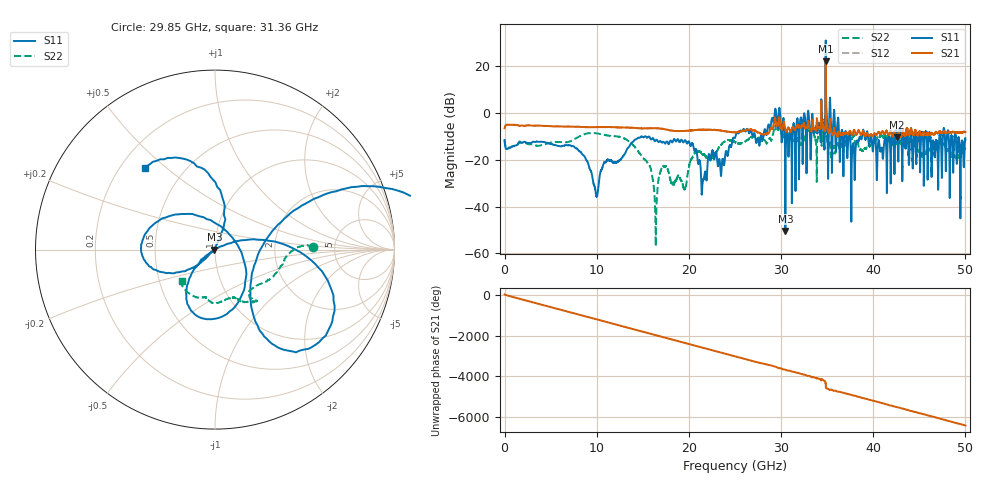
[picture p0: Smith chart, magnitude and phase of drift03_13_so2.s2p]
!Created with skrf (http://scikit-rf.org).
# Hz S RI R 50.0
!freq ReS11 ImS11 ReS21 ImS21 ReS12 ImS12 ReS22 ImS22
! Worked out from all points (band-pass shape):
!   10001 points, 300 kHz to 50 GHz, reference 50 ohm
!   highest |S21| = 21.99 dB at 34.85 GHz (marker M1); lowest = -10.5 dB at 42.56 GHz (marker M2)
!   |S21| within 3 dB of the highest: 34.84331 GHz to 34.84676 GHz (3.449 MHz wide, 0.0099 % of centre)
!   lowest |S11| = -50.4 dB at 30.47 GHz (marker M3), VSWR 1.01, Z = 49.7 - j0.112 ohm
!   |S11| at or under -10 dB: start of sweep to 15.22 GHz; 15.33 GHz to 25.05 GHz (9.727 GHz wide, 48.2 % of centre); 40.22 GHz to 41.64 GHz (1.422 GHz wide, 3.47 % of centre) (the widest 3 of 54)
!   |S22| runs from -56.9 to 13.0 dB; largest |S21 - S12| = 1.9
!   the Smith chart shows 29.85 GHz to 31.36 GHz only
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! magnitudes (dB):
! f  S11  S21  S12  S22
! 300 kHz  -11.6  -6.5  -6.5  -11.4
! 8.335 GHz  -17.1  -6.0  -6.0  -9.6
! 9.955 GHz  -35.6  -6.1  -6.1  -8.7
! 11 GHz  -20.9  -6.0  -6.1  -9.5
! 15.51 GHz  -10.5  -6.6  -6.6  -21.4
! 16.37 GHz  -11.9  -6.5  -6.5  -46.7
! 16.67 GHz  -12.4  -6.6  -6.5  -29.2
! 17.32 GHz  -12.7  -7.0  -6.9  -22.9
! 19.54 GHz  -11.7  -7.7  -7.7  -32.3
! 20.22 GHz  -13.9  -7.5  -7.5  -20.1
! 21.55 GHz  -28.5  -7.2  -7.2  -17.8
! 25 GHz  -10.6  -8.3  -8.3  -12.5
! 29.6 GHz  -5.6  -5.7  -5.9  -7.9
! 30.47 GHz  -50.4  -7.2  -7.2  -9.1
! 33.34 GHz  -3.8  -6.9  -6.8  -9.4
! 34.85 GHz  31.0  22.0  21.7  13.0
! 35.63 GHz  -6.7  -9.2  -9.1  -16.0
! 37.81 GHz  -13.1  -8.5  -8.5  -10.2
! 38.8 GHz  -9.9  -8.6  -8.5  -16.1
! 41.67 GHz  -9.6  -9.5  -9.5  -11.6
! 42.56 GHz  -8.4  -10.5  -10.6  -13.2
! 50 GHz  -10.8  -8.1  -8.2  -15.5
